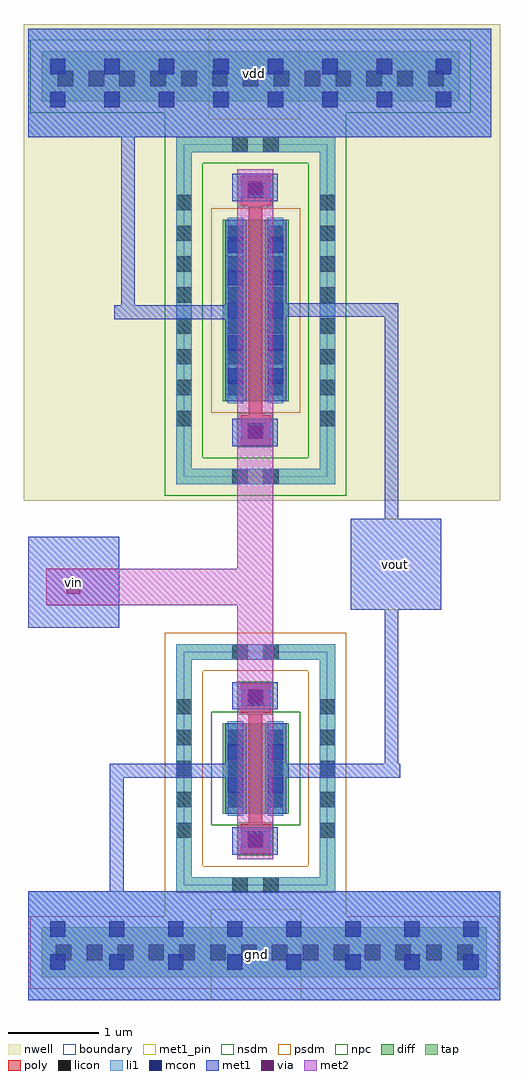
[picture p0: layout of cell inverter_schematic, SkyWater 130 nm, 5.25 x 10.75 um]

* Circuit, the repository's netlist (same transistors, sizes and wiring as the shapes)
** sch_path: /home/fahad/Desktop/chip/inverter_26_9_26/05_layout/magic/schematic_netlist/inverter_schematic.sch
.subckt inverter_schematic vout vin gnd vdd
*.PININFO vout:O vin:I gnd:B vdd:B
XM1 vout vin gnd gnd sky130_fd_pr__nfet_01v8 L=0.15 W=1 nf=1
XM2 vout vin vdd vdd sky130_fd_pr__pfet_01v8 L=0.15 W=2 nf=1
.ends

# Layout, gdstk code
from math import pi, radians
import gdstk
lib = gdstk.Library(unit=1e-6, precision=1e-09)
def R(c, l, rs):  # rectangles x0, y0, x1, y1
    for r in rs: c.add(gdstk.rectangle(r[:2], r[2:], *l))
def A(c, l, x, y, w, h, nx, ny, dx, dy):  # array of equal rectangles
    R(c, l, [(x+i*dx, y+j*dy, x+i*dx+w, y+j*dy+h) for i in range(nx) for j in range(ny)])
nwell = (64, 20)
diff = (65, 20)
tap = (65, 44)
poly = (66, 20)
licon = (66, 44)
li1 = (67, 20)
mcon = (67, 44)
met1_pin = (68, 16)
met1 = (68, 20)
via = (68, 44)
met2 = (69, 20)
nsdm = (93, 44)
psdm = (94, 20)
npc = (95, 20)
boundary = (235, 4)

sky130_fd_pr__pfet_01v8_ = lib.new_cell('sky130_fd_pr__pfet_01v8_VJT448')
R(sky130_fd_pr__pfet_01v8_, nwell, [(-1.055,-2.095,1.055,2.095)])
R(sky130_fd_pr__pfet_01v8_, diff, [(-0.365,-1,0.365,1)])
R(sky130_fd_pr__pfet_01v8_, tap, [(-0.875,-1.915,0.875,-1.745), (-0.875,-1.745,-0.705,1.745), (0.705,-1.745,0.875,1.745), (-0.875,1.745,0.875,1.915)])
R(sky130_fd_pr__pfet_01v8_, poly, [(-0.165,-1.485,0.165,-1.155), (-0.075,-1.155,0.075,1.155), (-0.165,1.155,0.165,1.485)])
A(sky130_fd_pr__pfet_01v8_, licon, -0.875, -1.275, 0.17, 0.17, 1, 8, 0, 0.34)
A(sky130_fd_pr__pfet_01v8_, licon, 0.705, -1.275, 0.17, 0.17, 1, 8, 0, 0.34)
A(sky130_fd_pr__pfet_01v8_, licon, -0.305, -0.935, 0.17, 0.17, 1, 6, 0, 0.34)
A(sky130_fd_pr__pfet_01v8_, licon, 0.135, -0.935, 0.17, 0.17, 1, 6, 0, 0.34)
R(sky130_fd_pr__pfet_01v8_, licon, [(-0.255,-1.915,-0.085,-1.745), (0.085,-1.915,0.255,-1.745), (-0.085,-1.405,0.085,-1.235), (-0.085,1.235,0.085,1.405), (-0.255,1.745,-0.085,1.915), (0.085,1.745,0.255,1.915)])
R(sky130_fd_pr__pfet_01v8_, li1, [(-0.875,-1.915,0.875,-1.745), (-0.875,-1.745,-0.705,1.745), (0.705,-1.745,0.875,1.745), (-0.165,-1.405,0.165,-1.235), (-0.305,-1.02,-0.135,1.02), (0.135,-1.02,0.305,1.02), (-0.165,1.235,0.165,1.405), (-0.875,1.745,0.875,1.915)])
A(sky130_fd_pr__pfet_01v8_, mcon, -0.305, -0.805, 0.17, 0.17, 1, 5, 0, 0.36)
A(sky130_fd_pr__pfet_01v8_, mcon, 0.135, -0.805, 0.17, 0.17, 1, 5, 0, 0.36)
R(sky130_fd_pr__pfet_01v8_, mcon, [(-0.085,-1.405,0.085,-1.235), (-0.085,1.235,0.085,1.405)])
R(sky130_fd_pr__pfet_01v8_, met1, [(-0.145,-1.435,0.145,-1.205), (-0.335,-1,-0.105,1), (0.105,-1,0.335,1), (-0.145,1.205,0.145,1.435)])
R(sky130_fd_pr__pfet_01v8_, nsdm, [(-1,-2.04,1,-1.62), (-1,-1.62,-0.58,1.62), (0.58,-1.62,1,1.62), (-1,1.62,1,2.04)])
R(sky130_fd_pr__pfet_01v8_, psdm, [(-0.49,-1.125,0.49,1.125)])
R(sky130_fd_pr__pfet_01v8_, npc, [(-0.185,-1.505,0.185,-1.135), (-0.185,1.135,0.185,1.505)])
R(sky130_fd_pr__pfet_01v8_, boundary, [(-0.79,-1.83,0.79,1.83)])
sky130_fd_pr__pfet_01v8_.add(gdstk.Label('B', (0,-1.83), layer=67, texttype=5))
sky130_fd_pr__pfet_01v8_.add(gdstk.Label('D', (-0.22,0), layer=67, texttype=5))
sky130_fd_pr__pfet_01v8_.add(gdstk.Label('S', (0.22,0), layer=67, texttype=5))
sky130_fd_pr__pfet_01v8_.add(gdstk.Label('G', (0,1.32), layer=67, texttype=5))

sky130_fd_pr__nfet_01v8_ = lib.new_cell('sky130_fd_pr__nfet_01v8_34VMYE')
R(sky130_fd_pr__nfet_01v8_, diff, [(-0.365,-0.5,0.365,0.5)])
R(sky130_fd_pr__nfet_01v8_, tap, [(-0.875,-1.37,0.875,-1.2), (-0.875,-1.2,-0.705,1.2), (0.705,-1.2,0.875,1.2), (-0.875,1.2,0.875,1.37)])
R(sky130_fd_pr__nfet_01v8_, poly, [(-0.165,-0.94,0.165,-0.61), (-0.075,-0.61,0.075,0.61), (-0.165,0.61,0.165,0.94)])
A(sky130_fd_pr__nfet_01v8_, licon, -0.875, -0.765, 0.17, 0.17, 1, 5, 0, 0.34)
A(sky130_fd_pr__nfet_01v8_, licon, 0.705, -0.765, 0.17, 0.17, 1, 5, 0, 0.34)
A(sky130_fd_pr__nfet_01v8_, licon, -0.305, -0.425, 0.17, 0.17, 1, 3, 0, 0.34)
A(sky130_fd_pr__nfet_01v8_, licon, 0.135, -0.425, 0.17, 0.17, 1, 3, 0, 0.34)
R(sky130_fd_pr__nfet_01v8_, licon, [(-0.255,-1.37,-0.085,-1.2), (0.085,-1.37,0.255,-1.2), (-0.085,-0.86,0.085,-0.69), (-0.085,0.69,0.085,0.86), (-0.255,1.2,-0.085,1.37), (0.085,1.2,0.255,1.37)])
R(sky130_fd_pr__nfet_01v8_, li1, [(-0.875,-1.37,0.875,-1.2), (-0.875,-1.2,-0.705,1.2), (0.705,-1.2,0.875,1.2), (-0.165,-0.86,0.165,-0.69), (-0.305,-0.52,-0.135,0.52), (0.135,-0.52,0.305,0.52), (-0.165,0.69,0.165,0.86), (-0.875,1.2,0.875,1.37)])
R(sky130_fd_pr__nfet_01v8_, mcon, [(-0.085,-0.86,0.085,-0.69), (-0.305,-0.265,-0.135,-0.095), (0.135,-0.265,0.305,-0.095), (-0.305,0.095,-0.135,0.265), (0.135,0.095,0.305,0.265), (-0.085,0.69,0.085,0.86)])
R(sky130_fd_pr__nfet_01v8_, met1, [(-0.145,-0.89,0.145,-0.66), (-0.335,-0.5,-0.105,0.5), (0.105,-0.5,0.335,0.5), (-0.145,0.66,0.145,0.89)])
R(sky130_fd_pr__nfet_01v8_, nsdm, [(-0.49,-0.625,0.49,0.625)])
R(sky130_fd_pr__nfet_01v8_, psdm, [(-1,-1.495,1,-1.075), (-1,-1.075,-0.58,1.075), (0.58,-1.075,1,1.075), (-1,1.075,1,1.495)])
R(sky130_fd_pr__nfet_01v8_, npc, [(-0.185,-0.96,0.185,-0.59), (-0.185,0.59,0.185,0.96)])
R(sky130_fd_pr__nfet_01v8_, boundary, [(-0.79,-1.285,0.79,1.285)])
sky130_fd_pr__nfet_01v8_.add(gdstk.Label('B', (0,-1.285), layer=67, texttype=5))
sky130_fd_pr__nfet_01v8_.add(gdstk.Label('D', (-0.22,0), layer=67, texttype=5))
sky130_fd_pr__nfet_01v8_.add(gdstk.Label('S', (0.22,0), layer=67, texttype=5))
sky130_fd_pr__nfet_01v8_.add(gdstk.Label('G', (0,0.775), layer=67, texttype=5))

inverter_schematic = lib.new_cell('inverter_schematic')
R(inverter_schematic, nwell, [(3.55,-1.75,8.8,3.5)])
R(inverter_schematic, tap, [(3.75,-7,8.65,-6.45), (3.75,2.65,8.35,3.2)])
A(inverter_schematic, licon, 3.905, -6.81, 0.17, 0.17, 14, 1, 0.34, 0)
A(inverter_schematic, licon, 3.925, 2.815, 0.17, 0.17, 13, 1, 0.34, 0)
R(inverter_schematic, li1, [(3.6,-7.25,8.8,-6.05), (3.6,2.25,8.7,3.45)])
A(inverter_schematic, mcon, 3.84, -6.915, 0.17, 0.17, 8, 2, 0.65, 0.36)
A(inverter_schematic, mcon, 3.84, 2.585, 0.17, 0.17, 7, 2, 0.6, 0.36)
R(inverter_schematic, mcon, [(8.09,2.585,8.26,2.755), (8.09,2.945,8.26,3.115)])
R(inverter_schematic, met1_pin, [(5.61,-7.25,6.61,-6.25), (3.6,-3.15,4.6,-2.15), (7.15,-2.95,8.15,-1.95), (5.59,2.45,6.59,3.45)])
R(inverter_schematic, met1, [(3.6,-7.25,8.8,-6.05), (4.5,-6.05,4.65,-4.8), (5.85,-5.65,6.35,-5.35), (4.5,-4.8,5.95,-4.65), (6.25,-4.8,7.7,-4.65), (7.525,-4.65,7.675,-2.95), (5.85,-4.05,6.35,-3.75), (3.6,-3.15,4.6,-2.15), (7.15,-2.95,8.15,-1.95), (7.525,-1.95,7.675,0.275), (5.85,-1.15,6.35,-0.85), (4.55,0.25,5.95,0.4), (6.275,0.275,7.675,0.425), (4.625,0.4,4.775,2.25), (5.85,1.55,6.35,1.85), (3.6,2.25,8.7,3.45)])
R(inverter_schematic, via, [(6.025,-5.575,6.175,-5.425), (6.025,-3.975,6.175,-3.825), (4.025,-2.775,4.175,-2.625), (6.025,-1.075,6.175,-0.925), (6.025,1.625,6.175,1.775)])
R(inverter_schematic, met2, [(5.9,-5.7,6.3,-2.9), (3.8,-2.9,6.3,-2.5), (5.9,-2.5,6.3,1.9)])
R(inverter_schematic, nsdm, [(5.105,2.385,7.105,2.525), (3.625,2.525,8.475,3.325)])
R(inverter_schematic, psdm, [(3.625,-7.125,8.775,-6.325), (5.105,-6.325,7.105,-6.195)])
inverter_schematic.add(gdstk.Reference(sky130_fd_pr__pfet_01v8_, (6.105,0.345), rotation=pi, x_reflection=True))
inverter_schematic.add(gdstk.Reference(sky130_fd_pr__nfet_01v8_, (6.105,-4.7), rotation=pi, x_reflection=True))
inverter_schematic.add(gdstk.Label('vout', (7.65,-2.45), layer=68, texttype=5))
inverter_schematic.add(gdstk.Label('vin', (4.1,-2.65), layer=68, texttype=5))
inverter_schematic.add(gdstk.Label('gnd', (6.11,-6.75), layer=68, texttype=5))
inverter_schematic.add(gdstk.Label('vdd', (6.09,2.95), layer=68, texttype=5))

lib.write_gds('inverter_schematic.gds')
